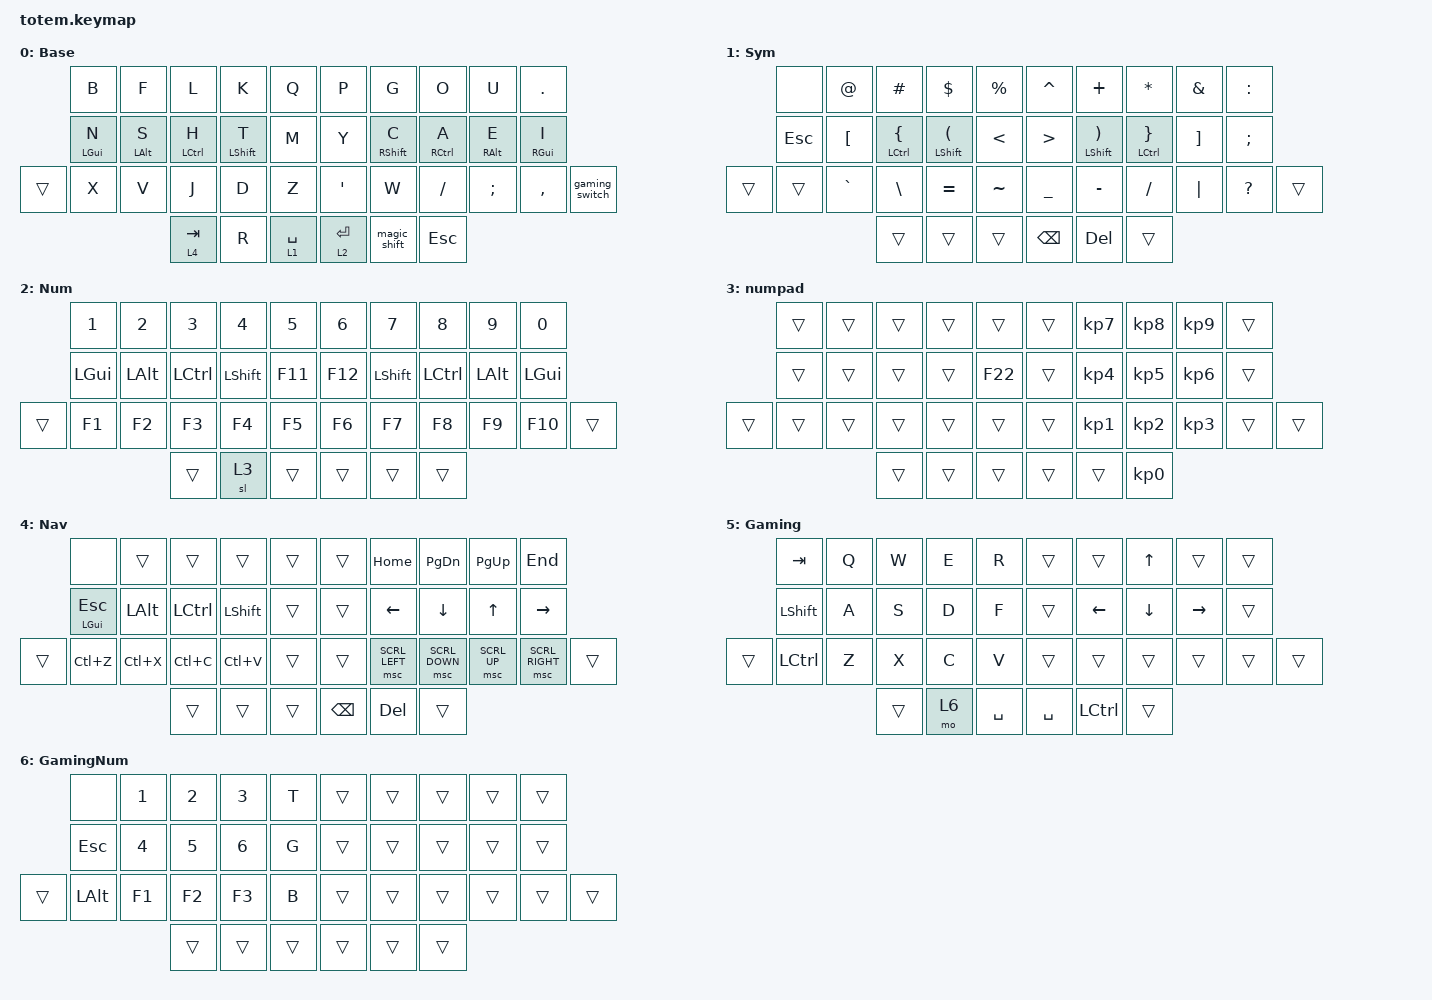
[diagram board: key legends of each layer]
#include <input/processors.dtsi>
#include "zmk-helpers/helper.h"
#include "zmk-helpers/key-labels/totem.h"
#include <behaviors.dtsi>
#include <dt-bindings/zmk/keys.h>
#include <dt-bindings/zmk/pointing.h>

#define KEYS_L LT0 LT1 LT2 LT3 LT4 LM0 LM1 LM2 LM3 LM4 LB0 LB1 LB2 LB3 LB4
#define KEYS_R RT0 RT1 RT2 RT3 RT4 RM0 RM1 RM2 RM3 RM4 RB0 RB1 RB2 RB3 RB4
#define THUMBS LH2 LH1 LH0 RH0 RH1 RH2
#define ZMK_POINTING_DEFAULT_MOVE_VAL 3000
#define ZMK_POINTING_DEFAULT_SCRL_VAL 30

&sk {
    release-after-ms = <900>;
    quick-release;
};

&sl { ignore-modifiers; };

&mt {
    flavor = "tap-preferred";
    tapping-term-ms = <220>;
    quick-tap-ms = <220>;
    hold-trigger-key-positions = <0>;
};

&lt {
    flavor = "balanced";
    quick-tap-ms = <175>;
    tapping-term-ms = <200>;
};

&mmv {
    acceleration-exponent = <1>;          // 1
    time-to-max-speed-ms = <500>;         // 300
    delay-ms = <0>;                       // 0
};

&msc {
    acceleration-exponent = <0>;          // 0
    time-to-max-speed-ms = <300>;         // 300
    delay-ms = <0>;                       // 0
};

&mmv_input_listener {
    warp {
        layers = <2>;
        input-processors = <&zip_xy_scaler 3 1>;
    };

    precision {
        layers = <4>;
        input-processors = <&zip_xy_scaler 1 2>;
    };
};

/ {
    zip_scroll_scaler: zip_scroll_scaler {
        compatible = "zmk,input-processor-scaler";
        #input-processor-cells = <2>;
        type = <INPUT_EV_REL>;
        codes = <INPUT_REL_WHEEL INPUT_REL_HWHEEL>;
        track-remainders;
    };
};

/ {
    behaviors {
        hml: home_row_mod_left {
            compatible = "zmk,behavior-hold-tap";
            #binding-cells = <2>;
            flavor = "balanced";
            require-prior-idle-ms = <150>;
            tapping-term-ms = <280>;
            quick-tap-ms = <175>;
            bindings = <&kp>, <&kp>;

            hold-trigger-key-positions = <KEYS_R THUMBS>;
            hold-trigger-on-release;
        };

        hmr: home_row_mod_right {
            compatible = "zmk,behavior-hold-tap";
            #binding-cells = <2>;
            flavor = "balanced";
            require-prior-idle-ms = <150>;
            tapping-term-ms = <280>;
            quick-tap-ms = <175>;
            bindings = <&kp>, <&kp>;

            hold-trigger-key-positions = <KEYS_L THUMBS>;
            hold-trigger-on-release;
        };

        gaming_switch: gaming_switch {
            compatible = "zmk,behavior-tap-dance";
            label = "GAMING_SWITCH";
            #binding-cells = <0>;
            bindings = <&to 0>, <&to 5>;
        };

        hold_sticky: hold_sticky {
            compatible = "zmk,behavior-hold-tap";
            label = "HOLD_STICKY";
            bindings = <&kp>, <&sk>;

            #binding-cells = <2>;
            tapping-term-ms = <200>;
        };

        magic_shift: magic_shift {
            compatible = "zmk,behavior-tap-dance";
            label = "MAGIC_SHIFT";
            #binding-cells = <0>;
            bindings = <&hold_sticky LSHIFT LSHIFT>, <&caps_word>;
        };
    };

    combos {
        compatible = "zmk,combos";

        escape {
            bindings = <&kp ESC>;
            key-positions = <1 2>;
        };

        backspace {
            bindings = <&kp BACKSPACE>;
            key-positions = <8 7>;
        };
    };

    keymap {
        compatible = "zmk,keymap";

        Base {
            display-name = "Base";
            bindings = <
        &kp B        &kp F        &kp L         &kp K          &kp Q          &kp P             &kp G         &kp O         &kp U          &kp DOT
        &hml LGUI N  &hml LALT S  &hml LCTRL H  &hml LSHIFT T  &kp M          &kp Y             &hmr RSHFT C  &hmr RCTRL A  &hmr RALT E    &hmr RGUI I
&trans  &kp X        &kp V        &kp J         &kp D          &kp Z          &kp SINGLE_QUOTE  &kp W         &kp SLASH     &kp SEMICOLON  &kp COMMA    &gaming_switch
                                  &lt 4 TAB     &kp R          &lt 1 SPACE    &lt 2 ENTER       &magic_shift  &kp ESCAPE
            >;
        };

        Sym {
            bindings = <
        &none    &kp AT     &kp HASH         &kp DLLR         &kp PRCNT    &kp CARET      &kp PLUS          &kp ASTRK        &kp AMPERSAND  &kp COLON
        &kp ESC  &kp LBKT   &hml LCTRL LBRC  &hml LSHFT LPAR  &kp LT       &kp GT         &hmr LSHIFT RPAR  &hmr LCTRL RBRC  &kp RBKT       &kp SEMI
&trans  &trans   &kp GRAVE  &kp BSLH         &kp EQUAL        &kp TILDE    &kp UNDER      &kp MINUS         &kp SLASH        &kp PIPE       &kp QUESTION  &trans
                            &trans           &trans           &trans       &kp BACKSPACE  &kp DEL           &trans
            >;
        };

        Num {
            bindings = <
        &kp N1    &kp N2    &kp N3     &kp N4     &kp N5     &kp N6   &kp N7      &kp N8     &kp N9    &kp N0
        &kp LGUI  &kp LALT  &kp LCTRL  &kp LSHFT  &kp F11    &kp F12  &kp LSHIFT  &kp LCTRL  &kp LALT  &kp LGUI
&trans  &kp F1    &kp F2    &kp F3     &kp F4     &kp F5     &kp F6   &kp F7      &kp F8     &kp F9    &kp F10   &trans
                            &trans     &sl 3      &trans     &trans   &trans      &trans
            >;
        };

        numpad {
            bindings = <
        &trans  &trans  &trans  &trans  &trans     &trans  &kp KP_NUMBER_7  &kp KP_NUMBER_8  &kp KP_NUMBER_9  &trans
        &trans  &trans  &trans  &trans  &kp F22    &trans  &kp KP_NUMBER_4  &kp KP_NUMBER_5  &kp KP_NUMBER_6  &trans
&trans  &trans  &trans  &trans  &trans  &trans     &trans  &kp KP_NUMBER_1  &kp KP_NUMBER_2  &kp KP_NUMBER_3  &trans  &trans
                        &trans  &trans  &trans     &trans  &trans           &kp KP_NUMBER_0
            >;
        };

        Nav {
            bindings = <
        &none            &trans     &trans     &trans      &trans    &trans         &kp HOME        &kp PAGE_DOWN   &kp PG_UP     &kp END
        &mt LGUI ESCAPE  &kp LALT   &kp LCTRL  &kp LSHIFT  &trans    &trans         &kp LEFT        &kp DOWN        &kp UP        &kp RIGHT
&trans  &kp LC(Z)        &kp LC(X)  &kp LC(C)  &kp LC(V)   &trans    &trans         &msc SCRL_LEFT  &msc SCRL_DOWN  &msc SCRL_UP  &msc SCRL_RIGHT  &trans
                                    &trans     &trans      &trans    &kp BACKSPACE  &kp DELETE      &trans
            >;
        };

        Gaming {
            bindings = <
        &kp TAB    &kp Q  &kp W   &kp E  &kp R        &trans     &trans     &kp UP    &trans     &trans
        &kp LSHFT  &kp A  &kp S   &kp D  &kp F        &trans     &kp LEFT   &kp DOWN  &kp RIGHT  &trans
&trans  &kp LCTRL  &kp Z  &kp X   &kp C  &kp V        &trans     &trans     &trans    &trans     &trans  &trans
                          &trans  &mo 6  &kp SPACE    &kp SPACE  &kp LCTRL  &trans
            >;
        };

        GamingNum {
            bindings = <
        &none         &kp N1  &kp N2  &kp N3  &kp T     &trans  &trans  &trans  &trans  &trans
        &kp ESC       &kp N4  &kp N5  &kp N6  &kp G     &trans  &trans  &trans  &trans  &trans
&trans  &kp LEFT_ALT  &kp F1  &kp F2  &kp F3  &kp B     &trans  &trans  &trans  &trans  &trans  &trans
                              &trans  &trans  &trans    &trans  &trans  &trans
            >;
        };
    };
};
